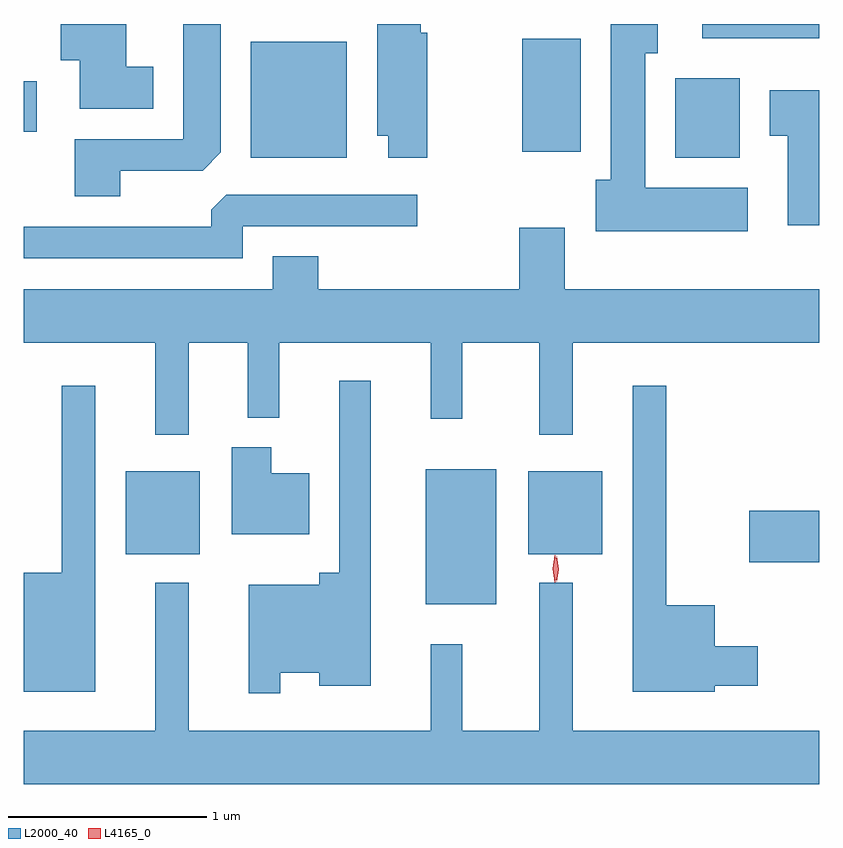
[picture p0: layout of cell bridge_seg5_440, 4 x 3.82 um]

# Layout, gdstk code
import gdstk
lib = gdstk.Library(unit=1e-6, precision=1e-09)
def R(c, l, rs):  # rectangles x0, y0, x1, y1
    for r in rs: c.add(gdstk.rectangle(r[:2], r[2:], *l))
def P(c, l, *ps):  # polygons
    for p in ps: c.add(gdstk.Polygon(p, *l))
L2000_40 = (2000, 40)
L4165_0 = (4165, 0)

bridge_seg5_440 = lib.new_cell('bridge_seg5_440')
R(bridge_seg5_440, L2000_40, [(237.721,1519.861,238.074,1520.539), (239.346,1520.071,239.699,1520.329), (236.211,1520.111,236.584,1520.529), (238.236,1520.111,238.609,1520.529), (236.841,1522.106,237.324,1522.689), (238.976,1522.106,239.299,1522.504), (238.206,1522.136,238.499,1522.704), (235.699,1522.236,235.764,1522.489), (239.111,1522.706,239.699,1522.778)])
P(bridge_seg5_440, L2000_40, [(237.729,1522.734),(237.694,1522.734),(237.694,1522.778),(237.476,1522.778),(237.476,1522.216),(237.531,1522.216),(237.531,1522.106),(237.729,1522.106)],
  [(239.339,1521.954),(238.824,1521.954),(238.824,1522.631),(238.888,1522.631),(238.888,1522.778),(238.651,1522.778),(238.651,1521.994),(238.576,1521.994),(238.576,1521.736),(239.339,1521.736)],
  [(236.349,1522.564),(236.214,1522.564),(236.214,1522.778),(235.886,1522.778),(235.886,1522.596),(235.981,1522.596),(235.981,1522.351),(236.349,1522.351)],
  [(236.184,1522.041),(236.599,1522.041),(236.689,1522.132),(236.689,1522.778),(236.501,1522.778),(236.501,1522.199),(235.956,1522.199),(235.956,1521.911),(236.184,1521.911)],
  [(239.699,1522.444),(239.451,1522.444),(239.451,1522.216),(239.541,1522.216),(239.541,1521.766),(239.699,1521.766)],
  [(236.799,1521.761),(237.678,1521.761),(237.678,1521.919),(236.717,1521.919),(236.641,1521.844),(236.641,1521.759),(235.699,1521.759),(235.699,1521.601),(236.799,1521.601)],
  [(237.746,1520.793),(237.904,1520.793),(237.904,1521.176),(238.291,1521.176),(238.291,1520.713),(238.459,1520.713),(238.459,1521.176),(239.699,1521.176),(239.699,1521.444),(238.419,1521.444),(238.419,1521.754),(238.191,1521.754),(238.191,1521.444),(237.179,1521.444),(237.179,1521.609),(236.951,1521.609),(236.951,1521.444),(235.699,1521.444),(235.699,1521.176),(236.361,1521.176),(236.361,1520.713),(236.529,1520.713),(236.529,1521.176),(236.826,1521.176),(236.826,1520.798),(236.984,1520.798),(236.984,1521.176),(237.746,1521.176)],
  [(236.989,1519.516),(237.186,1519.516),(237.186,1519.451),(237.444,1519.451),(237.444,1520.983),(237.286,1520.983),(237.286,1520.019),(237.186,1520.019),(237.186,1519.959),(236.831,1519.959),(236.831,1519.413),(236.989,1519.413)],
  [(239.174,1519.451),(239.389,1519.451),(239.389,1519.649),(239.174,1519.649),(239.174,1519.854),(238.929,1519.854),(238.929,1520.958),(238.761,1520.958),(238.761,1519.421),(239.174,1519.421)],
  [(236.059,1520.958),(235.891,1520.958),(235.891,1520.019),(235.699,1520.019),(235.699,1519.421),(236.059,1519.421)],
  [(237.134,1520.519),(236.944,1520.519),(236.944,1520.649),(236.746,1520.649),(236.746,1520.211),(237.134,1520.211)],
  [(239.699,1519.224),(238.459,1519.224),(238.459,1519.968),(238.291,1519.968),(238.291,1519.224),(237.904,1519.224),(237.904,1519.658),(237.746,1519.658),(237.746,1519.224),(236.529,1519.224),(236.529,1519.968),(236.361,1519.968),(236.361,1519.224),(235.699,1519.224),(235.699,1518.956),(239.699,1518.956)])
P(bridge_seg5_440, L4165_0, [(238.37,1519.969),(238.37,1519.97),(238.36,1520.038),(238.37,1520.106),(238.37,1520.106),(238.371,1520.106),(238.38,1520.038),(238.371,1519.97)],
  [(238.378,1519.973),(238.378,1519.973),(238.369,1520.038),(238.379,1520.101),(238.38,1520.102),(238.38,1520.101),(238.389,1520.037),(238.379,1519.973)])

lib.write_gds('bridge_seg5_440.gds')
